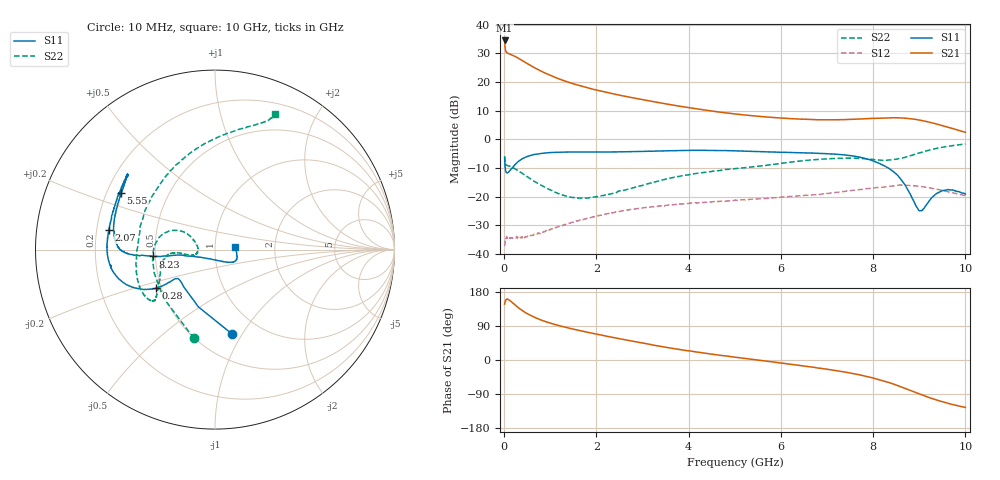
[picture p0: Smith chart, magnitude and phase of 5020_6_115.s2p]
# Hz S  dB  R 50
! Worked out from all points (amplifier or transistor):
!   1000 points, 10 MHz to 10 GHz, reference 50 ohm
!   highest |S21| = 34.5 dB at 10 MHz (marker M1)
!   |S21| within 3 dB of that: start of sweep to 25.34 MHz
!   unconditionally stable (mu >= 1): 59.6 MHz to end of sweep
!   at 1.67 GHz: K = 1.13, MAG = 21.1 dB, |S12| = -28.0 dB
!   at 5.01 GHz: K = 1.11, MAG = 13.0 dB, |S12| = -21.3 dB
!   at 10 GHz: K = 1.14, MAG = 8.8 dB, |S12| = -19.7 dB
!   S11 on the Smith chart (normalised r, x): 10 MHz: 0.74, -0.91; 280 MHz: 0.47, -0.24; 2.07 GHz: 0.25, +0.08; 5.55 GHz: 0.26, +0.26; 8.23 GHz: 0.48, -0.04; 10 GHz: 1.25, +0.04
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1e7  -6.35 -78.4  34.48 147.7  -37.26 29.4  -5.87 -103.3
7e7  -11.69 -140.7  30.13 160.6  -34.52 7.3  -9.12 -172.7
8e7  -11.60 -142.3  30.03 160.3  -34.12 7.3  -9.21 -175.4
1.1e8  -11.21 -143.9  29.82 158.2  -34.51 6.2  -9.35 178.5
2.1e8  -9.26 -145.0  29.12 148.0  -34.32 9.7  -10.08 166.3
2.8e8  -8.13 -146.8  28.53 140.7  -34.39 12.2  -10.72 161.0
3.9e8  -6.81 -150.9  27.50 130.6  -34.00 17.7  -11.86 155.3
5.2e8  -5.87 -155.9  26.25 121.0  -33.89 23.6  -13.30 151.5
6.4e8  -5.31 -160.1  25.13 113.6  -33.14 27.9  -14.52 150.6
7.9e8  -4.94 -164.5  23.88 105.9  -32.68 32.6  -15.89 151.3
9.6e8  -4.67 -168.7  22.60 98.8  -31.82 36.7  -17.33 154.4
1.15e9  -4.53 -172.9  21.32 92.0  -30.55 38.4  -18.72 160.5
1.68e9  -4.40 177.0  18.53 76.5  -28.03 40.7  -20.48 179.7
2.07e9  -4.42 169.7  16.92 66.6  -26.62 40.1  -19.81 -168.9
3.34e9  -4.09 146.7  12.83 37.1  -23.28 26.9  -14.59 -173.5
5.01e9  -4.02 142.3  8.85 7.4  -21.28 9.6  -10.22 -164.7
5.55e9  -4.28 148.9  7.99 -1.0  -20.70 4.7  -9.34 -153.8
6.67e9  -4.78 168.5  6.91 -18.6  -19.44 -7.2  -7.21 -139.9
8.23e9  -9.17 -173.7  7.40 -55.4  -16.68 -37.6  -7.33 172.5
8.34e9  -10.12 -172.8  7.46 -59.3  -16.44 -40.7  -7.19 162.7
9.01e9  -24.92 -108.4  6.70 -90.0  -16.41 -69.5  -4.69 97.7
1e10  -19.10 8.5  2.47 -125.2  -19.65 -102.1  -1.64 66.3
